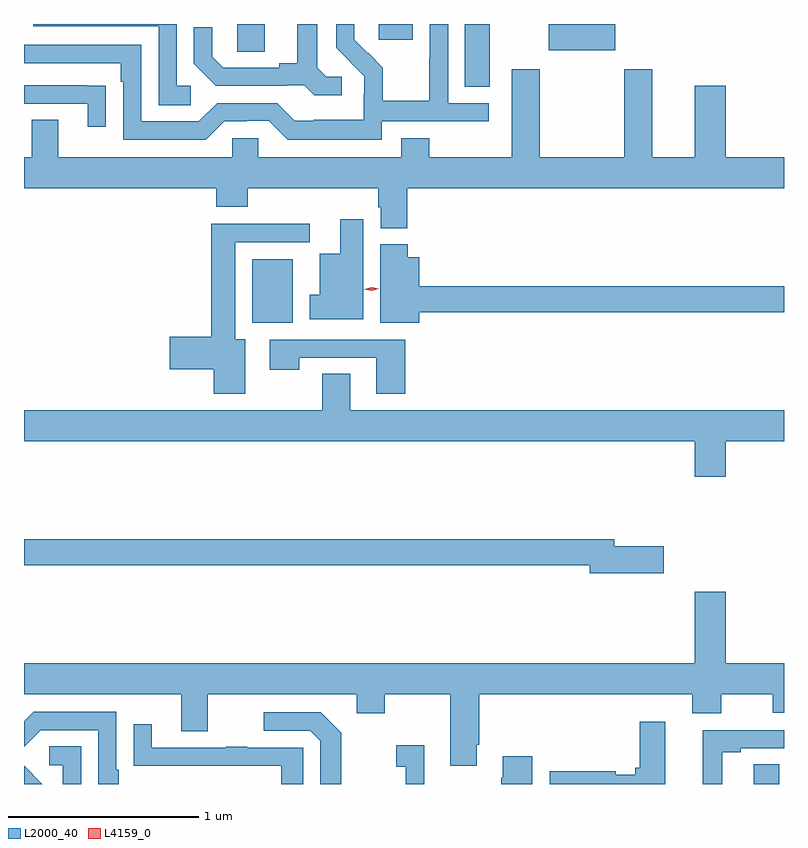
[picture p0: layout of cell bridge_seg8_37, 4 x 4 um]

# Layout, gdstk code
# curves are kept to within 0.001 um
import gdstk
lib = gdstk.Library(unit=1e-6, precision=1e-09)
def R(c, l, rs):  # rectangles x0, y0, x1, y1
    for r in rs: c.add(gdstk.rectangle(r[:2], r[2:], *l))
def P(c, l, *ps):  # polygons
    for p in ps: c.add(gdstk.Polygon(p, *l))
L2000_40 = (2000, 40)
L4159_0 = (4159, 0)

bridge_seg8_37 = lib.new_cell('bridge_seg8_37')
R(bridge_seg8_37, L2000_40, [(1076.408,1147.996,1076.542,1148.099), (1073.768,1150.424,1073.98,1150.759), (1074.887,1151.665,1075.018,1151.996), (1073.688,1151.851,1073.833,1151.996), (1075.328,1151.858,1075.678,1151.996), (1074.434,1151.913,1074.613,1151.996)])
P(bridge_seg8_37, L2000_40, [(1073.443,1151.67),(1073.37,1151.67),(1073.37,1151.996),(1072.615,1151.996),(1072.615,1151.985),(1073.274,1151.985),(1073.274,1151.569),(1073.443,1151.569)],
  [(1074.45,1151.484),(1075.012,1151.484),(1075.012,1151.58),(1074.798,1151.58),(1074.798,1151.996),(1074.702,1151.996),(1074.702,1151.816),(1074.7,1151.816),(1074.7,1151.593),(1074.455,1151.593),(1074.455,1151.767),(1074.378,1151.844),(1074.375,1151.841),(1074.305,1151.912),(1074.305,1151.996),(1074.21,1151.996),(1074.21,1151.87),(1074.356,1151.722),(1074.356,1151.625),(1074.354,1151.625),(1074.354,1151.491),(1074.091,1151.491),(1074.091,1151.487),(1073.991,1151.487),(1073.898,1151.58),(1073.583,1151.58),(1073.487,1151.484),(1073.184,1151.484),(1073.184,1151.886),(1072.566,1151.886),(1072.566,1151.79),(1073.075,1151.79),(1073.075,1151.693),(1073.088,1151.693),(1073.088,1151.388),(1073.523,1151.388),(1073.619,1151.484),(1073.738,1151.484),(1073.738,1151.487),(1073.853,1151.487),(1073.953,1151.387),(1074.45,1151.387)],
  [(1074.238,1151.718),(1074.156,1151.718),(1074.109,1151.765),(1074.109,1151.996),(1074.005,1151.996),(1074.005,1151.789),(1073.909,1151.789),(1073.909,1151.766),(1073.614,1151.766),(1073.557,1151.823),(1073.557,1151.98),(1073.46,1151.98),(1073.46,1151.786),(1073.576,1151.67),(1073.948,1151.67),(1073.948,1151.673),(1074.042,1151.673),(1074.094,1151.621),(1074.238,1151.621)],
  [(1074.584,1151.132),(1076.566,1151.132),(1076.566,1151.296),(1076.26,1151.296),(1076.26,1151.671),(1076.096,1151.671),(1076.096,1151.296),(1075.873,1151.296),(1075.873,1151.758),(1075.726,1151.758),(1075.726,1151.296),(1075.281,1151.296),(1075.281,1151.758),(1075.133,1151.758),(1075.133,1151.296),(1074.699,1151.296),(1074.699,1151.395),(1074.551,1151.395),(1074.551,1151.296),(1073.799,1151.296),(1073.799,1151.394),(1073.661,1151.394),(1073.661,1151.296),(1072.747,1151.296),(1072.747,1151.491),(1072.607,1151.491),(1072.607,1151.296),(1072.566,1151.296),(1072.566,1151.132),(1073.579,1151.132),(1073.579,1151.033),(1073.744,1151.033),(1073.744,1151.132),(1074.431,1151.132),(1074.431,1151.031),(1074.443,1151.031),(1074.443,1150.921),(1074.584,1150.921)],
  [(1072.997,1151.672),(1072.895,1151.672),(1072.895,1151.673),(1072.566,1151.673),(1072.566,1151.577),(1072.901,1151.577),(1072.901,1151.454),(1072.997,1151.454)],
  [(1074.352,1150.969),(1074.23,1150.969),(1074.23,1150.786),(1074.122,1150.786),(1074.122,1150.57),(1074.071,1150.57),(1074.071,1150.442),(1074.352,1150.442)],
  [(1073.731,1150.336),(1073.677,1150.336),(1073.677,1150.848),(1074.07,1150.848),(1074.07,1150.946),(1073.552,1150.946),(1073.552,1150.349),(1073.334,1150.349),(1073.334,1150.178),(1073.564,1150.178),(1073.564,1150.05),(1073.731,1150.05)],
  [(1074.646,1150.48),(1076.566,1150.48),(1076.566,1150.616),(1074.646,1150.616),(1074.646,1150.768),(1074.587,1150.768),(1074.587,1150.836),(1074.44,1150.836),(1074.44,1150.424),(1074.646,1150.424)],
  [(1074.572,1150.335),(1073.859,1150.335),(1073.859,1150.176),(1074.015,1150.176),(1074.015,1150.239),(1074.419,1150.239),(1074.419,1150.05),(1074.572,1150.05)],
  [(1076.26,1149.8),(1076.566,1149.8),(1076.566,1149.964),(1074.283,1149.964),(1074.283,1150.154),(1074.136,1150.154),(1074.136,1149.964),(1072.566,1149.964),(1072.566,1149.8),(1076.096,1149.8),(1076.096,1149.612),(1076.26,1149.612)],
  [(1075.933,1149.248),(1075.672,1149.248),(1075.672,1149.284),(1072.566,1149.284),(1072.566,1149.148),(1075.544,1149.148),(1075.544,1149.106),(1075.933,1149.106)],
  [(1074.949,1148.203),(1074.962,1148.203),(1074.962,1148.468),(1076.084,1148.468),(1076.084,1148.369),(1076.236,1148.369),(1076.236,1148.468),(1076.507,1148.468),(1076.507,1148.37),(1076.566,1148.37),(1076.566,1148.632),(1076.26,1148.632),(1076.26,1149.007),(1076.096,1149.007),(1076.096,1148.632),(1072.566,1148.632),(1072.566,1148.468),(1073.393,1148.468),(1073.393,1148.274),(1073.533,1148.274),(1073.533,1148.468),(1074.317,1148.468),(1074.317,1148.369),(1074.465,1148.369),(1074.465,1148.468),(1074.809,1148.468),(1074.809,1148.091),(1074.949,1148.091)],
  [(1073.065,1148.071),(1073.052,1148.071),(1073.052,1148.376),(1072.617,1148.376),(1072.566,1148.325),(1072.566,1148.193),(1072.653,1148.28),(1072.956,1148.28),(1072.956,1147.996),(1073.065,1147.996)],
  [(1074.235,1148.267),(1074.129,1148.373),(1073.829,1148.373),(1073.829,1148.277),(1074.072,1148.277),(1074.126,1148.223),(1074.126,1147.996),(1074.235,1147.996)],
  [(1075.942,1148.323),(1075.808,1148.323),(1075.808,1148.082),(1075.784,1148.082),(1075.784,1148.046),(1075.68,1148.046),(1075.68,1148.064),(1075.332,1148.064),(1075.332,1147.996),(1075.942,1147.996)],
  [(1074.036,1148.187),(1073.741,1148.187),(1073.741,1148.192),(1073.629,1148.192),(1073.629,1148.187),(1073.239,1148.187),(1073.239,1148.311),(1073.143,1148.311),(1073.143,1148.092),(1073.245,1148.092),(1073.245,1148.091),(1073.92,1148.091),(1073.92,1147.996),(1074.036,1147.996)],
  [(1076.242,1148.164),(1076.338,1148.164),(1076.338,1148.184),(1076.566,1148.184),(1076.566,1148.28),(1076.138,1148.28),(1076.138,1147.996),(1076.242,1147.996)],
  [(1074.673,1148.2),(1074.525,1148.2),(1074.525,1148.087),(1074.576,1148.087),(1074.576,1147.996),(1074.673,1147.996)],
  [(1072.866,1148.195),(1072.698,1148.195),(1072.698,1148.094),(1072.77,1148.094),(1072.77,1147.996),(1072.866,1147.996)],
  [(1075.24,1148.143),(1075.085,1148.143),(1075.085,1148.03),(1075.078,1148.03),(1075.078,1147.996),(1075.24,1147.996)],
  [(1072.566,1148.092),(1072.566,1147.996),(1072.662,1147.996)])
P(bridge_seg8_37, L4159_0, [(1074.396,1150.591),(1074.358,1150.601),(1074.358,1150.601),(1074.358,1150.601),(1074.395,1150.611),(1074.432,1150.602),(1074.433,1150.602),(1074.432,1150.602)])

lib.write_gds('bridge_seg8_37.gds')
